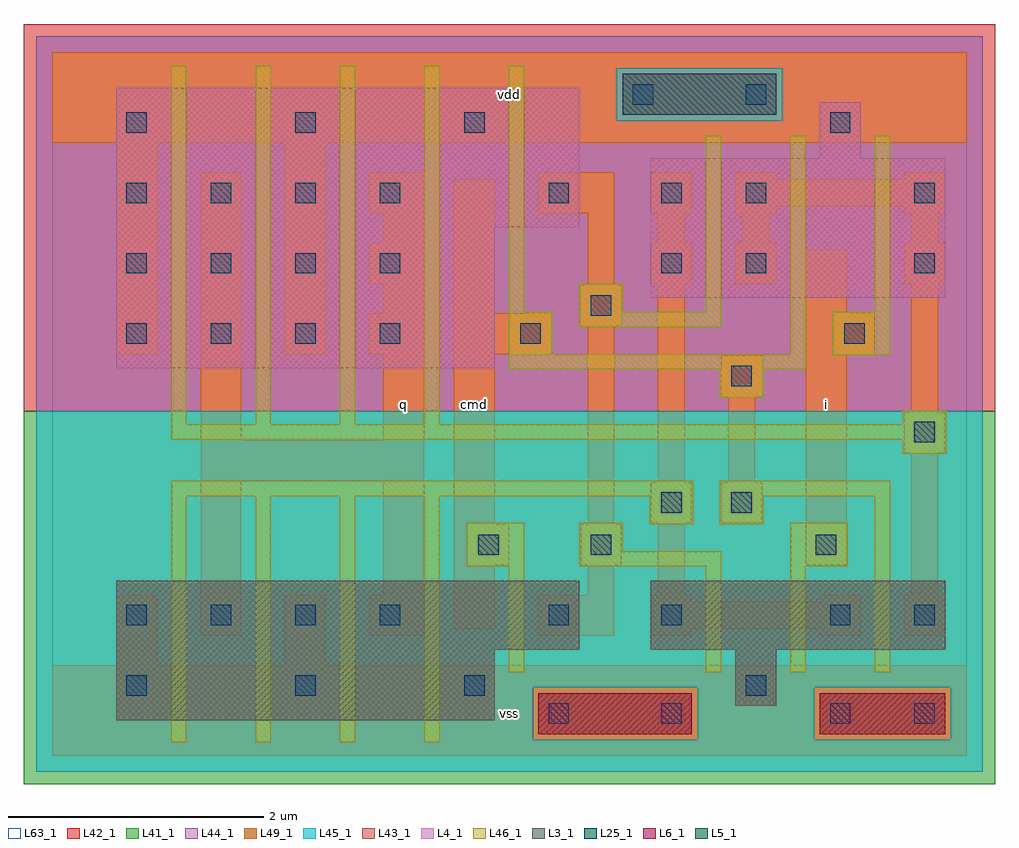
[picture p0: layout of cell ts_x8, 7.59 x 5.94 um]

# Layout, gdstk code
import gdstk
lib = gdstk.Library(unit=1e-6, precision=1e-09)
def R(c, l, rs):  # rectangles x0, y0, x1, y1
    for r in rs: c.add(gdstk.rectangle(r[:2], r[2:], *l))
def A(c, l, x, y, w, h, nx, ny, dx, dy):  # array of equal rectangles
    R(c, l, [(x+i*dx, y+j*dy, x+i*dx+w, y+j*dy+h) for i in range(nx) for j in range(ny)])
L3_1 = (3, 1)
L4_1 = (4, 1)
L5_1 = (5, 1)
L6_1 = (6, 1)
L25_1 = (25, 1)
L41_1 = (41, 1)
L42_1 = (42, 1)
L43_1 = (43, 1)
L44_1 = (44, 1)
L45_1 = (45, 1)
L46_1 = (46, 1)
L49_1 = (49, 1)
L63_1 = (63, 1)

ts_x8 = lib.new_cell('ts_x8')
R(ts_x8, L3_1, [(0.5,0.28,3.46,0.83), (5.34,0.39,5.66,0.83), (0.5,0.83,4.12,1.37), (4.68,0.83,6.98,1.37)])
R(ts_x8, L4_1, [(0.5,3.03,3.46,4.13), (4.68,3.58,6.98,4.67), (0.5,4.13,4.12,5.22), (6,4.67,6.32,5.11)])
R(ts_x8, L5_1, [(4.46,5.01,5.66,5.33)])
R(ts_x8, L6_1, [(3.8,0.17,5,0.49), (6,0.17,6.98,0.49)])
A(ts_x8, L25_1, 0.58, 0.47, 0.16, 0.16, 3, 2, 1.32, 4.4)
A(ts_x8, L25_1, 0.58, 1.02, 0.16, 0.16, 4, 2, 0.66, 2.2)
A(ts_x8, L25_1, 0.58, 3.77, 0.16, 0.16, 4, 2, 0.66, 0.55)
R(ts_x8, L25_1, [(3.88,0.25,4.04,0.41), (4.76,0.25,4.92,0.41), (6.08,0.25,6.24,0.41), (6.74,0.25,6.9,0.41), (5.42,0.47,5.58,0.63), (3.88,1.02,4.04,1.18), (4.76,1.02,4.92,1.18), (6.08,1.02,6.24,1.18), (6.74,1.02,6.9,1.18), (3.33,1.57,3.49,1.73), (4.21,1.57,4.37,1.73), (5.97,1.57,6.13,1.73), (4.76,1.9,4.92,2.06), (5.31,1.9,5.47,2.06), (6.74,2.45,6.9,2.61), (5.31,2.89,5.47,3.05), (3.66,3.22,3.82,3.38), (6.19,3.22,6.35,3.38), (4.21,3.44,4.37,3.6), (4.76,3.77,4.92,3.93), (5.42,3.77,5.58,3.93), (6.74,3.77,6.9,3.93), (3.88,4.32,4.04,4.48), (4.76,4.32,4.92,4.48), (5.42,4.32,5.58,4.48), (6.74,4.32,6.9,4.48), (6.08,4.87,6.24,5.03), (4.54,5.09,4.7,5.25), (5.42,5.09,5.58,5.25)])
R(ts_x8, L41_1, [(-0.22,-0.22,7.37,2.695)])
R(ts_x8, L42_1, [(-0.22,2.695,7.37,5.72)])
R(ts_x8, L43_1, [(3.8,0.17,5,0.49), (6,0.17,6.98,0.49), (0.5,0.28,3.46,0.83), (5.34,0.39,5.66,0.83), (0.5,0.83,4.12,1.37), (4.68,0.83,6.98,1.37), (0.5,3.03,3.46,4.13), (4.68,3.58,6.98,4.67), (0.5,4.13,4.12,5.22), (6,4.67,6.32,5.11), (4.46,5.01,5.66,5.33)])
R(ts_x8, L44_1, [(3.755,0.125,5.045,0.535), (5.955,0.125,7.025,0.535), (-0.125,2.695,7.275,4.965), (-0.125,4.965,4.415,5.375), (5.705,4.965,7.275,5.375), (-0.125,5.375,7.275,5.625)])
R(ts_x8, L45_1, [(-0.125,-0.125,7.275,0.125), (-0.125,0.125,3.755,0.535), (5.045,0.125,5.955,0.535), (7.025,0.125,7.275,0.535), (-0.125,0.535,7.275,2.695), (4.415,4.965,5.705,5.375)])
A(ts_x8, L46_1, 0.93, 0.105, 0.12, 1.925, 4, 1, 0.66, 0)
A(ts_x8, L46_1, 0.93, 2.59, 0.12, 2.805, 4, 1, 0.66, 0)
R(ts_x8, L46_1, [(3.57,0.655,3.69,1.48), (5.11,0.655,5.23,1.48), (5.77,0.655,5.89,1.48), (6.43,0.655,6.55,2.03), (3.24,1.48,3.69,1.82), (4.12,1.48,5.23,1.6), (5.77,1.48,6.22,1.82), (4.12,1.6,4.46,1.82), (4.67,1.81,5.01,2.03), (5.22,1.81,5.56,2.03), (0.93,2.03,5.01,2.15), (5.22,2.03,6.55,2.15), (6.65,2.36,6.99,2.47), (0.93,2.47,6.99,2.59), (6.65,2.59,6.99,2.7), (5.22,2.8,5.56,3.02), (3.57,3.02,5.89,3.14), (6.1,3.13,6.55,3.47), (3.57,3.14,3.91,3.47), (5.77,3.14,5.89,4.845), (4.12,3.35,5.23,3.47), (3.57,3.47,3.69,5.395), (4.12,3.47,4.46,3.69), (5.11,3.47,5.23,4.845), (6.43,3.47,6.55,4.845)])
A(ts_x8, L49_1, 2.48, 3.14, 0.43, 0.32, 1, 3, 0, 0.55)
R(ts_x8, L49_1, [(0,0,7.15,0.71), (0.5,0.71,0.82,1.26), (1.82,0.71,2.14,1.26), (1.16,0.94,1.48,2.15), (2.48,0.94,2.91,1.26), (3.8,0.94,4.395,1.26), (4.68,0.94,5,0.995), (6,0.94,6.32,0.995), (6.66,0.94,6.98,1.26), (3.14,0.995,3.46,1.49), (4.68,0.995,6.32,1.205), (4.68,1.205,5,1.26), (6,1.205,6.32,1.26), (2.59,1.26,2.91,2.15), (4.185,1.26,4.395,1.49), (4.735,1.26,4.945,1.82), (6.715,1.26,6.925,2.37), (3.14,1.49,3.57,1.81), (4.13,1.49,4.45,1.81), (5.89,1.49,6.21,3.14), (3.14,1.81,3.46,3.14), (4.185,1.81,4.395,3.36), (4.68,1.82,5,2.14), (5.23,1.82,5.55,2.14), (4.735,2.14,4.945,3.69), (5.285,2.14,5.495,2.81), (1.16,2.15,2.91,2.47), (6.66,2.37,6.98,2.69), (1.16,2.47,1.48,4.56), (2.59,2.47,2.91,3.14), (6.715,2.69,6.925,3.69), (5.23,2.81,5.55,3.13), (0.5,3.14,0.82,4.79), (1.82,3.14,2.14,4.79), (3.14,3.14,3.9,3.46), (5.89,3.14,6.43,3.46), (4.13,3.36,4.45,3.68), (2.59,3.46,2.91,3.69), (3.14,3.46,3.46,4.505), (5.89,3.46,6.21,3.955), (4.185,3.68,4.395,4.24), (4.68,3.69,5,4.01), (5.34,3.69,5.66,4.01), (6.66,3.69,6.98,4.01), (2.59,4.01,2.91,4.24), (4.735,4.01,4.945,4.24), (5.395,4.01,5.605,4.24), (6.715,4.01,6.925,4.24), (3.8,4.24,4.395,4.56), (4.68,4.24,5,4.56), (5.34,4.24,5.66,4.295), (6.66,4.24,6.98,4.295), (5.34,4.295,6.98,4.505), (5.34,4.505,5.66,4.56), (6.66,4.505,6.98,4.56), (0,4.79,7.15,5.5)])
R(ts_x8, L63_1, [(0,0,7.15,5.5)])
ts_x8.add(gdstk.Label('q', (2.75,2.75), layer=49, texttype=1))
ts_x8.add(gdstk.Label('cmd', (3.3,2.75), layer=49, texttype=1))
ts_x8.add(gdstk.Label('cmd', (3.3,2.75), layer=49, texttype=1))
ts_x8.add(gdstk.Label('q', (2.75,2.75), layer=49, texttype=1))
ts_x8.add(gdstk.Label('vss', (3.575,0.33), layer=49, texttype=1))
ts_x8.add(gdstk.Label('vss', (3.575,0.33), layer=49, texttype=1))
ts_x8.add(gdstk.Label('vdd', (3.575,5.17), layer=49, texttype=1))
ts_x8.add(gdstk.Label('vdd', (3.575,5.17), layer=49, texttype=1))
ts_x8.add(gdstk.Label('i', (6.05,2.75), layer=49, texttype=1))
ts_x8.add(gdstk.Label('i', (6.05,2.75), layer=49, texttype=1))

lib.write_gds('ts_x8.gds')
